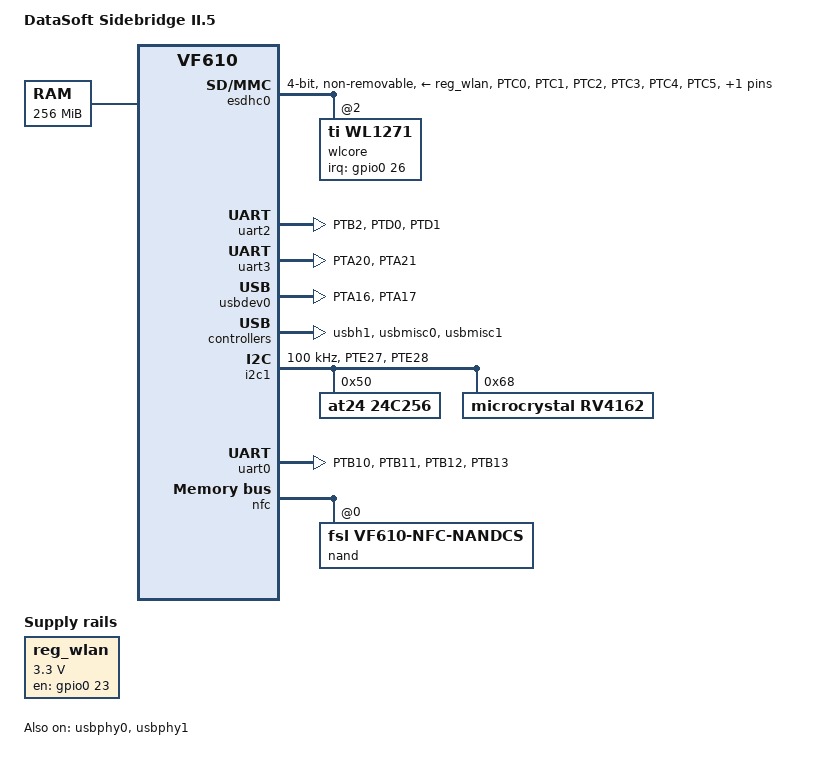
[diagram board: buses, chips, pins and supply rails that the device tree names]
/*
 * Copyright 2014 DataSoft Corporation
 * Based on vf610-twr.dts, Copyright 2013 Freescale Semiconductor, Inc.
 *
 * This program is free software; you can redistribute it and/or modify
 * it under the terms of the GNU General Public License as published by
 * the Free Software Foundation; either version 2 of the License, or
 * (at your option) any later version.
 */

/dts-v1/;

#include "vf610.dtsi"

/ {
	compatible = "ds,dsvsom", "fsl,vf610-twr", "fsl,vf610";

	model = "DataSoft Sidebridge II.5";

	chosen {
		bootargs = "console=ttyLP2,115200";
	};

	memory {
		reg = <0x80000000 0x10000000>;
	};

	aliases {
		mmc0 = &esdhc0;
	};

	kim {
		compatible = "kim";
		nshutdown_gpio = <22>;
		dev_name = "/dev/ttyLP0";
		flow_cntrl = <1>;
		baud_rate = <3000000>;
	};

	btwilink {
		compatible = "btwilink";
		pinctrl-names = "default";
		pinctrl-0 = <&pinctrl_bt>;
		status = "okay";
	};

	reg_wlan: regulator-wlan {
		compatible = "regulator-fixed";
		regulator-name = "reg_wlan";
		regulator-min-microvolt = <3300000>;
		regulator-max-microvolt = <3300000>;
		startup-delay-us = <70000>;
		gpio = <&gpio0 23 GPIO_ACTIVE_HIGH>;	/* GPIO_TIWI_WL_EN_3V3 */
		enable-active-high;
	};
};

&iomuxc {
	dsvsom-1138 {

		pinctrl_usb0: usb0grp {
			fsl,pins = <
				VF610_PAD_PTA16__USB0_VBUS_EN		0x0182
				VF610_PAD_PTA17__USB0_VBUS_OC		0x0181
			>;
		};

		pinctrl_uart2: uart2grp {
			fsl,pins = <
				VF610_PAD_PTB2__GPIO_24			0x0182 	/* GPIO_RX232_EN */
				VF610_PAD_PTD0__UART2_TX		0x2182
				VF610_PAD_PTD1__UART2_RX		0x21ad
			>;
		};

		pinctrl_uart3: uart3grp {
			fsl,pins = <
				VF610_PAD_PTA20__UART3_TX		0x2182
				VF610_PAD_PTA21__UART3_RX		0x21ad
			>;
		};

		pinctrl_bt: btgrp {
			fsl,pins = <
				VF610_PAD_PTB0__GPIO_22			0x0182 /* GPIO_TIWI_BT_EN_3V3 */
				VF610_PAD_PTB9__GPIO_31			0x0182 /* GPIO_TIWI_AUD_DIR */
			>;
		};

		pinctrl_wlan: wlangrp {
			fsl,pins = <
				VF610_PAD_PTB4__GPIO_26			0x01ad /* GPIO_WLAN_NIRQ_3V3 */
			>;
		};

		pinctrl_eeprom: eepromgrp {
			fsl,pins = <
				VF610_PAD_PTB3__GPIO_25			0x0182 /* GPIO_EEP_WP */
			>;
		};

		pinctrl_uart0: uart0grp {
			fsl,pins = <
				VF610_PAD_PTB10__UART0_TX		0x2182
				VF610_PAD_PTB11__UART0_RX		0x21ad
				VF610_PAD_PTB12__UART0_RTS		0x2182
				VF610_PAD_PTB13__UART0_CTS		0x21ad
			>;
		};

		pinctrl_esdhc0: esdhc0grp {
			fsl,pins = <
				VF610_PAD_PTC0__ESDHC0_CLK		0x31ef
				VF610_PAD_PTC1__ESDHC0_CMD		0x31ef
				VF610_PAD_PTC2__ESDHC0_DAT0		0x31ef
				VF610_PAD_PTC3__ESDHC0_DAT1		0x31ef
				VF610_PAD_PTC4__ESDHC0_DAT2		0x31ef
				VF610_PAD_PTC5__ESDHC0_DAT3		0x31ef
				VF610_PAD_PTB1__GPIO_23			0x0182 /* GPIO_TIWI_WL_EN_3V3 */
			>;
		};

		pinctrl_i2c1: i2c1grp {
			fsl,pins = <
				VF610_PAD_PTE27__I2C1_SCL		0x05ef
				VF610_PAD_PTE28__I2C1_SDA		0x05ef
			>;
		};
	};
};

&snvs0 {
	status = "disabled";
};

&L2 {
	status = "disabled";
};

&edma0 {
	status = "okay";
};

&esdhc0 {
	status = "okay";
	vmmc-supply = <&reg_wlan>;
	pinctrl-names = "default";
	pinctrl-0 = <&pinctrl_esdhc0>;
	bus-width = <4>;
	non-removable;
	no-1-8-v;
	cap-power-off-card;
	keep-power-in-suspend;

	#address-cells = <1>;
	#size-cells = <0>;

	wlcore: wlcore@2 {
		compatible = "ti,wl1271";
		pinctrl-names = "default";
		pinctrl-0 = <&pinctrl_wlan>;
		reg = <2>;
		interrupt-parent = <&gpio0>;
		interrupts = <26 IRQ_TYPE_LEVEL_HIGH>;
		ref-clock-frequency = <38400000>;
	};
};

&uart2 {
	pinctrl-names = "default";
	pinctrl-0 = <&pinctrl_uart2>;
	enable-gpios = <&gpio0 24 GPIO_ACTIVE_HIGH>;
	status = "okay";
};

&uart3 {
	pinctrl-names = "default";
	pinctrl-0 = <&pinctrl_uart3>;
	status = "okay";
};

&usbdev0 {
	disable-over-current;
	pinctrl-names = "default";
	pinctrl-0 = <&pinctrl_usb0>;
	status = "okay";
};

&usbh1 {
	disable-over-current;
	status = "okay";
};

&usbmisc0 {
	status = "okay";
};

&usbmisc1 {
	status = "okay";
};

&usbphy0 {
	status = "okay";
};

&usbphy1 {
	status = "okay";
};

&i2c1 {
	clock-frequency = <100000>;
	pinctrl-names = "default";
	pinctrl-0 = <&pinctrl_i2c1>;
	status = "okay";

	at24@50 {
		compatible = "at24,24c256";
		pagesize = <64>;
		reg = <0x50>;
		pinctrl-names = "default";
		pinctrl-0 = <&pinctrl_eeprom>;
	};

	rv4162@68 {
		compatible = "microcrystal,rv4162";
		reg = <0x68>;
	};
};

&uart0 {
	pinctrl-names = "default";
	pinctrl-0 = <&pinctrl_uart0>;
	status = "okay";
};

&nfc {
	clock-frequency = <33000000>;
	status = "okay";

	nand@0 {
		compatible = "fsl,vf610-nfc-nandcs";
		reg = <0>;
		#address-cells = <1>;
		#size-cells = <1>;
		nand-bus-width = <8>;
		nand-ecc-mode = "hw";
		nand-ecc-strength = <32>;
		nand-ecc-step-size = <2048>;
		nand-on-flash-bbt;
	};
};

